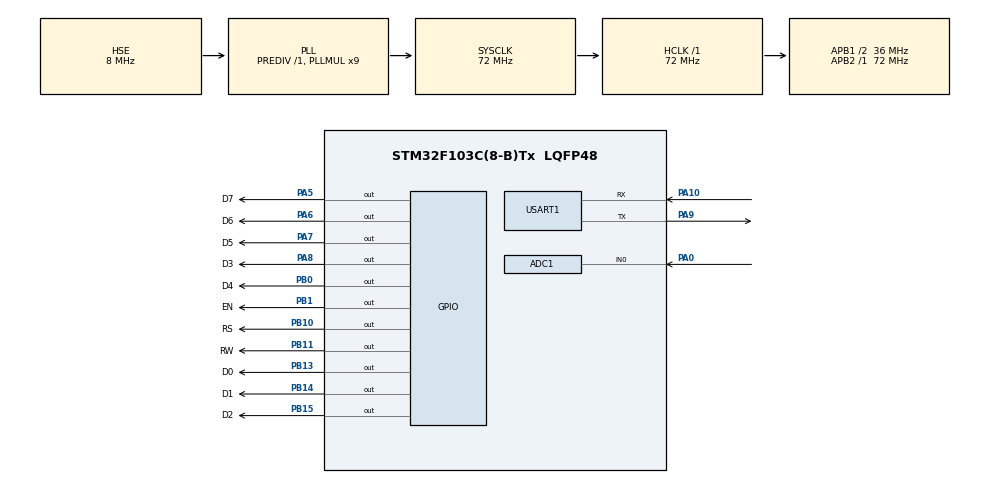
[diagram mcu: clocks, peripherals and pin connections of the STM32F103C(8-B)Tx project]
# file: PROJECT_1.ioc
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ADC1.Channel-0\#ChannelRegularConversion=ADC_CHANNEL_0
ADC1.NbrOfConversionFlag=1
ADC1.Rank-0\#ChannelRegularConversion=1
ADC1.SamplingTime-0\#ChannelRegularConversion=ADC_SAMPLETIME_239CYCLES_5
ADC1.master=1
Mcu.Family=STM32F1
Mcu.Name=STM32F103C(8-B)Tx
Mcu.Package=LQFP48
NVIC.PriorityGroup=NVIC_PRIORITYGROUP_4
NVIC.USART1_IRQn=true\:0\:0\:false\:false\:true\:true\:true\:true
PA0-WKUP.Signal=ADCx_IN0
PA10.Mode=Asynchronous
PA10.Signal=USART1_RX
PA13.Mode=Serial_Wire
PA13.Signal=SYS_JTMS-SWDIO
PA14.Mode=Serial_Wire
PA14.Signal=SYS_JTCK-SWCLK
PA5.GPIO_Label=D7
PA5.Signal=GPIO_Output
PA6.GPIO_Label=D6
PA6.Signal=GPIO_Output
PA7.GPIO_Label=D5
PA7.Signal=GPIO_Output
PA8.GPIO_Label=D3
PA8.Signal=GPIO_Output
PA9.Mode=Asynchronous
PA9.Signal=USART1_TX
PB0.GPIO_Label=D4
PB0.Signal=GPIO_Output
PB1.GPIO_Label=EN
PB1.Signal=GPIO_Output
PB10.GPIO_Label=RS
PB10.Signal=GPIO_Output
PB11.GPIO_Label=RW
PB11.Signal=GPIO_Output
PB13.GPIO_Label=D0
PB13.Signal=GPIO_Output
PB14.GPIO_Label=D1
PB14.Signal=GPIO_Output
PB15.GPIO_Label=D2
PB15.Signal=GPIO_Output
PD0-OSC_IN.Mode=HSE-External-Oscillator
PD0-OSC_IN.Signal=RCC_OSC_IN
PD1-OSC_OUT.Mode=HSE-External-Oscillator
PD1-OSC_OUT.Signal=RCC_OSC_OUT
ProjectManager.HeapSize=0x200
ProjectManager.StackSize=0x400
ProjectManager.TargetToolchain=MDK-ARM V5.32
RCC.ADCPresc=RCC_ADCPCLK2_DIV6
RCC.AHBFreq_Value=72000000
RCC.APB1CLKDivider=RCC_HCLK_DIV2
RCC.APB1Freq_Value=36000000
RCC.APB1TimFreq_Value=72000000
RCC.APB2Freq_Value=72000000
RCC.APB2TimFreq_Value=72000000
RCC.HCLKFreq_Value=72000000
RCC.PLLMUL=RCC_PLL_MUL9
RCC.PLLSourceVirtual=RCC_PLLSOURCE_HSE
RCC.SYSCLKFreq_VALUE=72000000
RCC.SYSCLKSource=RCC_SYSCLKSOURCE_PLLCLK
RCC.USBFreq_Value=72000000
SH.ADCx_IN0.0=ADC1_IN0,IN0
USART1.VirtualMode=VM_ASYNC
board=custom

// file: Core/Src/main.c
/* USER CODE BEGIN Header */
/**
  ******************************************************************************
  * @file           : main.c
  * @brief          : Main program body
  ******************************************************************************
  * @attention
  *
  * Copyright (c) 2022 STMicroelectronics.
  * All rights reserved.
  *
  * This software is licensed under terms that can be found in the LICENSE file
  * in the root directory of this software component.
  * If no LICENSE file comes with this software, it is provided AS-IS.
  *
  ******************************************************************************
  */
/* USER CODE END Header */
#include "main.h"

/* USER CODE BEGIN Includes */
#include "string.h"
/* USER CODE END Includes */

ADC_HandleTypeDef hadc1;

UART_HandleTypeDef huart1;

/* USER CODE BEGIN PV */
uint8_t i;
uint8_t step1  = 0,
step2 = 0,
step3 = 0,
step4 = 0,
step5 = 0,
step6 = 0,
step7 = 0,
step8 = 0,
step9 = 0,
step10 = 0;
uint8_t data_receive[1];
uint8_t flag = 0;
uint32_t adc_value;
float v;
/* USER CODE END PV */

void SystemClock_Config(void);
static void MX_GPIO_Init(void);
static void MX_ADC1_Init(void);
static void MX_USART1_UART_Init(void);

/* USER CODE BEGIN 0 */
void write_to_lcd_8bit(uint8_t rs, uint8_t data)
{
	 HAL_GPIO_WritePin(RS_GPIO_Port,RS_Pin,rs);
	 HAL_GPIO_WritePin(RW_GPIO_Port,RW_Pin,0);
	 HAL_GPIO_WritePin(EN_GPIO_Port,EN_Pin,1);

	 HAL_GPIO_WritePin(D7_GPIO_Port,D7_Pin,  ((data>>7)&0x01));
	 HAL_GPIO_WritePin(D6_GPIO_Port,D6_Pin,  ((data>>6)&0x01));
	 HAL_GPIO_WritePin(D5_GPIO_Port,D5_Pin,  ((data>>5)&0x01));
	 HAL_GPIO_WritePin(D4_GPIO_Port,D4_Pin,  ((data>>4)&0x01));
	 HAL_GPIO_WritePin(D3_GPIO_Port,D3_Pin,  ((data>>3)&0x01));
	 HAL_GPIO_WritePin(D2_GPIO_Port,D2_Pin,  ((data>>2)&0x01));
	 HAL_GPIO_WritePin(D1_GPIO_Port,D1_Pin,  ((data>>1)&0x01));
	 HAL_GPIO_WritePin(D0_GPIO_Port,D0_Pin,  ((data>>0)&0x01));
	 for(i=0;i<48;i++)
	 {
			__asm("NOP");
	 }
	 HAL_GPIO_WritePin(EN_GPIO_Port,EN_Pin,0);
	 HAL_Delay(1);
}

void lcd_send_command(uint8_t data)
{
	  write_to_lcd_8bit(0, (data>>0));
	  HAL_Delay(2);
}

void lcd_send_data(uint8_t data)
{
	  write_to_lcd_8bit(1, (data>>0));
	  HAL_Delay(2);
}

void lcd_init(void)
{
	  HAL_Delay(20);
	  write_to_lcd_8bit(0,0x30);
	  HAL_Delay(5);

	  lcd_send_command(0x38);
	  lcd_send_command(0x0C);
	  lcd_send_command(0x01);
	  lcd_send_command(0x06);
}

void display_text(char *data)
{
	  uint8_t j;
	  for (j=0;j<strlen(data);j++)
	  	lcd_send_data(data[j]);
}

void set_cursor( uint8_t row,uint8_t col)
{
	  uint8_t temp;
	  switch(row)
	  {
			case 0: temp=col |0x80;
	  	break;
	  	case 1: temp=col |0xC0;
	  	break;
	  	default : temp=col |0x80;
	  }
	  lcd_send_command(temp);
}

void lcd_Reset()
{
	HAL_Delay(100);
	set_cursor(0,0);
	display_text("Status_1");
	HAL_UART_Transmit(&huart1,"Start", 5, 10);
}

void lcd_A()
{
	HAL_Delay(100);
	set_cursor(0,0);
	display_text("Status_2");
	HAL_UART_Transmit(&huart1,"02", 2, 10);
}

void lcd_ADC2()
{
	HAL_Delay(100);
	set_cursor(0,0);
	display_text("Status_3");
	HAL_UART_Transmit(&huart1,"03", 2, 10);
}

void lcd_B()
{
	HAL_Delay(100);
	set_cursor(0,0);
	display_text("Status_4");
	HAL_UART_Transmit(&huart1,"04", 2, 10);
}

void lcd_ADC1()
{
	HAL_Delay(100);
	set_cursor(0,0);
	display_text("Status_5");
	HAL_UART_Transmit(&huart1,"05", 2, 10);
}

/* USER CODE END 0 */

int main(void)
{

  /* MCU Configuration--------------------------------------------------------*/

  /* Reset of all peripherals, Initializes the Flash interface and the Systick. */
  HAL_Init();

  /* Configure the system clock */
  SystemClock_Config();

  /* Initialize all configured peripherals */
  MX_GPIO_Init();
  MX_ADC1_Init();
  MX_USART1_UART_Init();
  /* USER CODE BEGIN 2 */
	lcd_init();
	HAL_UART_Receive_IT(&huart1,&data_receive[0],1);
  /* USER CODE END 2 */

  /* Infinite loop */
  while (1)
  {

    /* USER CODE BEGIN 3 */
		//step1
		if(step1 == 0)
		{
			lcd_Reset();
			step1 = 1;
		}
		//step2
		if((step1 == 1) && (step2 == 0))
		{
			if((data_receive[0] == 'A') && (flag == 1))
			{
				step2 = 1;
				flag = 0;
			}
		}
		if((step2 == 1) && (step3 == 0))
		{
			lcd_A();
			step3 = 1;
			step2 = 0;
		}
		//step3
		if((step3 == 1) && (step4 == 0))
		{
			HAL_ADC_Start(&hadc1);
			HAL_ADC_PollForConversion(&hadc1, 10);
			adc_value = HAL_ADC_GetValue(&hadc1);
			v = adc_value*3.3/4095;
			if(v >= 2)
			{
				step4 = 1;
			}
		}
		if((step4 == 1) && (step5 == 0))
		{
			lcd_ADC2();
			step5 = 1;
			step4 = 0;
		}
		//step4
		if((step5==1) && (step6 == 0))
		{
			if((data_receive[0] == 'B') && (flag == 1))
			{
				step6 = 1;
				flag = 0;
			}
			if((data_receive[0] == 'D') && (flag == 1))
			{
				step8 = 1;
				flag = 0;
			}
		}
		if((step6 == 1)&&(step7 == 0))
		{
			lcd_B();
			step7 = 1;
		}

		//step5
		if((step7==1) && (step8 == 0))
		{
			HAL_ADC_Start(&hadc1);
			HAL_ADC_PollForConversion(&hadc1, 10);
			adc_value = HAL_ADC_GetValue(&hadc1);
			v = adc_value*3.3/4095;
			if(v > 1)
			{
				step8 = 1;
			}
		}
		if((step8 == 1) && (step9 == 0))
		{
			lcd_ADC1();
			step8 = 0;
			step9 = 1;
		}
		//step6
		if((step9 == 1)&&(step10 == 0))
		{
			HAL_ADC_Start(&hadc1);
			HAL_ADC_PollForConversion(&hadc1, 10);
			adc_value = HAL_ADC_GetValue(&hadc1);
			v = adc_value*3.3/4095;
			if(v < 1)
			{
				step1 = 0, step2 = 0, step3 = 0, step4 = 0,
				step5 = 0, step6 = 0, step7 = 0, step8 = 0,
				step9 = 0;
			}
		}
  }
  /* USER CODE END 3 */
}

void SystemClock_Config(void)
{
  RCC_OscInitTypeDef RCC_OscInitStruct = {0};
  RCC_ClkInitTypeDef RCC_ClkInitStruct = {0};
  RCC_PeriphCLKInitTypeDef PeriphClkInit = {0};

  /** Initializes the RCC Oscillators according to the specified parameters
  * in the RCC_OscInitTypeDef structure.
  */
  RCC_OscInitStruct.OscillatorType = RCC_OSCILLATORTYPE_HSE;
  RCC_OscInitStruct.HSEState = RCC_HSE_ON;
  RCC_OscInitStruct.HSEPredivValue = RCC_HSE_PREDIV_DIV1;
  RCC_OscInitStruct.HSIState = RCC_HSI_ON;
  RCC_OscInitStruct.PLL.PLLState = RCC_PLL_ON;
  RCC_OscInitStruct.PLL.PLLSource = RCC_PLLSOURCE_HSE;
  RCC_OscInitStruct.PLL.PLLMUL = RCC_PLL_MUL9;
  if (HAL_RCC_OscConfig(&RCC_OscInitStruct) != HAL_OK)
  {
    Error_Handler();
  }

  /** Initializes the CPU, AHB and APB buses clocks
  */
  RCC_ClkInitStruct.ClockType = RCC_CLOCKTYPE_HCLK|RCC_CLOCKTYPE_SYSCLK
                              |RCC_CLOCKTYPE_PCLK1|RCC_CLOCKTYPE_PCLK2;
  RCC_ClkInitStruct.SYSCLKSource = RCC_SYSCLKSOURCE_PLLCLK;
  RCC_ClkInitStruct.AHBCLKDivider = RCC_SYSCLK_DIV1;
  RCC_ClkInitStruct.APB1CLKDivider = RCC_HCLK_DIV2;
  RCC_ClkInitStruct.APB2CLKDivider = RCC_HCLK_DIV1;

  if (HAL_RCC_ClockConfig(&RCC_ClkInitStruct, FLASH_LATENCY_2) != HAL_OK)
  {
    Error_Handler();
  }
  PeriphClkInit.PeriphClockSelection = RCC_PERIPHCLK_ADC;
  PeriphClkInit.AdcClockSelection = RCC_ADCPCLK2_DIV6;
  if (HAL_RCCEx_PeriphCLKConfig(&PeriphClkInit) != HAL_OK)
  {
    Error_Handler();
  }
}

static void MX_ADC1_Init(void)
{

  ADC_ChannelConfTypeDef sConfig = {0};

  /** Common config
  */
  hadc1.Instance = ADC1;
  hadc1.Init.ScanConvMode = ADC_SCAN_DISABLE;
  hadc1.Init.ContinuousConvMode = DISABLE;
  hadc1.Init.DiscontinuousConvMode = DISABLE;
  hadc1.Init.ExternalTrigConv = ADC_SOFTWARE_START;
  hadc1.Init.DataAlign = ADC_DATAALIGN_RIGHT;
  hadc1.Init.NbrOfConversion = 1;
  if (HAL_ADC_Init(&hadc1) != HAL_OK)
  {
    Error_Handler();
  }

  /** Configure Regular Channel
  */
  sConfig.Channel = ADC_CHANNEL_0;
  sConfig.Rank = ADC_REGULAR_RANK_1;
  sConfig.SamplingTime = ADC_SAMPLETIME_239CYCLES_5;
  if (HAL_ADC_ConfigChannel(&hadc1, &sConfig) != HAL_OK)
  {
    Error_Handler();
  }

}

static void MX_USART1_UART_Init(void)
{

  huart1.Instance = USART1;
  huart1.Init.BaudRate = 115200;
  huart1.Init.WordLength = UART_WORDLENGTH_8B;
  huart1.Init.StopBits = UART_STOPBITS_1;
  huart1.Init.Parity = UART_PARITY_NONE;
  huart1.Init.Mode = UART_MODE_TX_RX;
  huart1.Init.HwFlowCtl = UART_HWCONTROL_NONE;
  huart1.Init.OverSampling = UART_OVERSAMPLING_16;
  if (HAL_UART_Init(&huart1) != HAL_OK)
  {
    Error_Handler();
  }

}

static void MX_GPIO_Init(void)
{
  GPIO_InitTypeDef GPIO_InitStruct = {0};

  /* GPIO Ports Clock Enable */
  __HAL_RCC_GPIOD_CLK_ENABLE();
  __HAL_RCC_GPIOA_CLK_ENABLE();
  __HAL_RCC_GPIOB_CLK_ENABLE();

  /*Configure GPIO pin Output Level */
  HAL_GPIO_WritePin(GPIOA, D7_Pin|D6_Pin|D5_Pin|D3_Pin, GPIO_PIN_RESET);

  /*Configure GPIO pin Output Level */
  HAL_GPIO_WritePin(GPIOB, D4_Pin|EN_Pin|RS_Pin|RW_Pin
                          |D0_Pin|D1_Pin|D2_Pin, GPIO_PIN_RESET);

  /*Configure GPIO pins : D7_Pin D6_Pin D5_Pin D3_Pin */
  GPIO_InitStruct.Pin = D7_Pin|D6_Pin|D5_Pin|D3_Pin;
  GPIO_InitStruct.Mode = GPIO_MODE_OUTPUT_PP;
  GPIO_InitStruct.Pull = GPIO_NOPULL;
  GPIO_InitStruct.Speed = GPIO_SPEED_FREQ_LOW;
  HAL_GPIO_Init(GPIOA, &GPIO_InitStruct);

  /*Configure GPIO pins : D4_Pin EN_Pin RS_Pin RW_Pin
                           D0_Pin D1_Pin D2_Pin */
  GPIO_InitStruct.Pin = D4_Pin|EN_Pin|RS_Pin|RW_Pin
                          |D0_Pin|D1_Pin|D2_Pin;
  GPIO_InitStruct.Mode = GPIO_MODE_OUTPUT_PP;
  GPIO_InitStruct.Pull = GPIO_NOPULL;
  GPIO_InitStruct.Speed = GPIO_SPEED_FREQ_LOW;
  HAL_GPIO_Init(GPIOB, &GPIO_InitStruct);

}

void Error_Handler(void)
{
  __disable_irq();
  while (1)
  {
  }
}
